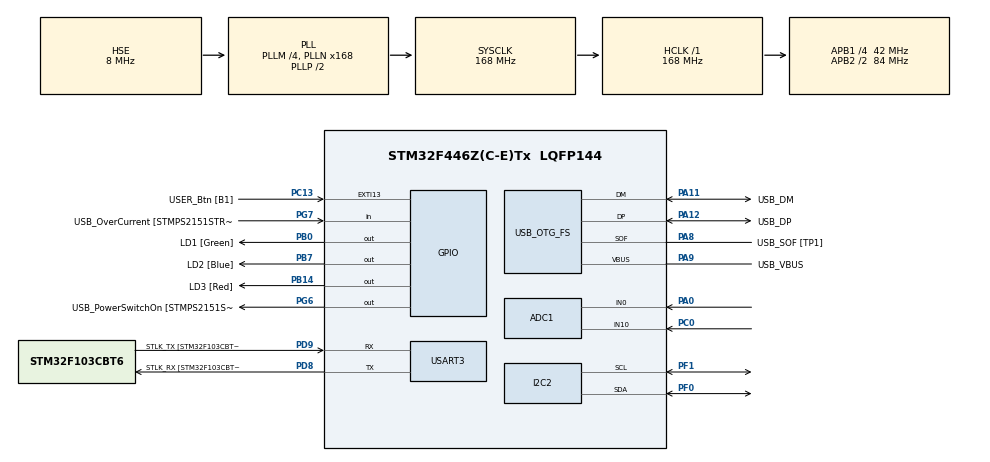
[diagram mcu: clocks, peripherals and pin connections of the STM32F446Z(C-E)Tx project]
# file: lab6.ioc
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ADC1.Channel-0\#ChannelRegularConversion=ADC_CHANNEL_10
ADC1.NbrOfConversionFlag=1
ADC1.Rank-0\#ChannelRegularConversion=1
ADC1.SamplingTime-0\#ChannelRegularConversion=ADC_SAMPLETIME_3CYCLES
ADC1.master=1
I2C2.I2C_Mode=I2C_Fast
Mcu.Family=STM32F4
Mcu.Name=STM32F446Z(C-E)Tx
Mcu.Package=LQFP144
NVIC.ADC_IRQn=true\:0\:0\:false\:false\:true\:true\:true\:true
NVIC.PriorityGroup=NVIC_PRIORITYGROUP_4
PA0-WKUP.Signal=ADCx_IN0
PA10.GPIO_Label=USB_ID
PA10.Signal=USB_OTG_FS_ID
PA11.GPIO_Label=USB_DM
PA11.Mode=Device_Only
PA11.Signal=USB_OTG_FS_DM
PA12.GPIO_Label=USB_DP
PA12.Mode=Device_Only
PA12.Signal=USB_OTG_FS_DP
PA13.GPIO_Label=TMS
PA13.Mode=Serial_Wire
PA13.Signal=SYS_JTMS-SWDIO
PA14.GPIO_Label=TCK
PA14.Mode=Serial_Wire
PA14.Signal=SYS_JTCK-SWCLK
PA8.GPIO_Label=USB_SOF [TP1]
PA8.Mode=Activate_SOF_FS
PA8.Signal=USB_OTG_FS_SOF
PA9.GPIO_Label=USB_VBUS
PA9.Mode=Activate_VBUS
PA9.Signal=USB_OTG_FS_VBUS
PB0.GPIO_Label=LD1 [Green]
PB0.Signal=GPIO_Output
PB14.GPIO_Label=LD3 [Red]
PB14.Signal=GPIO_Output
PB7.GPIO_Label=LD2 [Blue]
PB7.Signal=GPIO_Output
PC0.Signal=ADCx_IN10
PC13.GPIO_Label=USER_Btn [B1]
PC13.Signal=GPXTI13
PC14-OSC32_IN.Mode=LSE-External-Oscillator
PC14-OSC32_IN.Signal=RCC_OSC32_IN
PC15-OSC32_OUT.Mode=LSE-External-Oscillator
PC15-OSC32_OUT.Signal=RCC_OSC32_OUT
PD8.GPIO_Label=STLK_RX [STM32F103CBT6_PA3]
PD8.Mode=Asynchronous
PD8.Signal=USART3_TX
PD9.GPIO_Label=STLK_TX [STM32F103CBT6_PA2]
PD9.Mode=Asynchronous
PD9.Signal=USART3_RX
PF0.Mode=I2C
PF0.Signal=I2C2_SDA
PF1.Mode=I2C
PF1.Signal=I2C2_SCL
PG6.GPIO_Label=USB_PowerSwitchOn [STMPS2151STR_EN]
PG6.Signal=GPIO_Output
PG7.GPIO_Label=USB_OverCurrent [STMPS2151STR_FAULT]
PG7.Signal=GPIO_Input
PH0-OSC_IN.GPIO_Label=MCO [STM32F103CBT6_PA8]
PH0-OSC_IN.Mode=HSE-External-Clock-Source
PH0-OSC_IN.Signal=RCC_OSC_IN
PH1-OSC_OUT.Mode=HSE-External-Clock-Source
PH1-OSC_OUT.Signal=RCC_OSC_OUT
ProjectManager.HeapSize=0x200
ProjectManager.StackSize=0x400
ProjectManager.TargetToolchain=STM32CubeIDE
RCC.48MHZClocksFreq_Value=24000000
RCC.AHBFreq_Value=168000000
RCC.APB1CLKDivider=RCC_HCLK_DIV4
RCC.APB1Freq_Value=42000000
RCC.APB1TimFreq_Value=84000000
RCC.APB2CLKDivider=RCC_HCLK_DIV2
RCC.APB2Freq_Value=84000000
RCC.APB2TimFreq_Value=168000000
RCC.CortexFreq_Value=168000000
RCC.HCLKFreq_Value=168000000
RCC.HSE_VALUE=8000000
RCC.HSI_VALUE=16000000
RCC.PLLM=4
RCC.PLLMUL=RCC_PLL_MUL9
RCC.PLLN=168
RCC.PLLQ=7
RCC.PRESCALERUSB=RCC_USBCLKSOURCE_PLL_DIV1_5
RCC.SYSCLKFreq_VALUE=168000000
RCC.SYSCLKSource=RCC_SYSCLKSOURCE_PLLCLK
RCC.SYSCLKSourceVirtual=RCC_SYSCLKSOURCE_PLLCLK
RCC.USBFreq_Value=48000000
RCC.VCOOutputFreq_Value=336000000
SH.ADCx_IN0.0=ADC1_IN0,IN0
SH.ADCx_IN10.0=ADC1_IN10,IN10
USART3.VirtualMode=VM_ASYNC
USB_OTG_FS.VirtualMode=Device_Only
board=NUCLEO-F446ZE

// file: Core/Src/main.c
/* USER CODE BEGIN Header */
/**
  ******************************************************************************
  * @file           : main.c
  * @brief          : Main program body
  ******************************************************************************
  * @attention
  *
  * Copyright (c) 2026 STMicroelectronics.
  * All rights reserved.
  *
  * This software is licensed under terms that can be found in the LICENSE file
  * in the root directory of this software component.
  * If no LICENSE file comes with this software, it is provided AS-IS.
  *
  ******************************************************************************
  */
/* USER CODE END Header */
#include "main.h"

ADC_HandleTypeDef hadc1;

I2C_HandleTypeDef hi2c2;

UART_HandleTypeDef huart3;

PCD_HandleTypeDef hpcd_USB_OTG_FS;

void SystemClock_Config(void);
static void MX_GPIO_Init(void);
static void MX_ADC1_Init(void);
static void MX_USART3_UART_Init(void);
static void MX_USB_OTG_FS_PCD_Init(void);
static void MX_I2C2_Init(void);

int main(void)
{

  /* MCU Configuration--------------------------------------------------------*/

  /* Reset of all peripherals, Initializes the Flash interface and the Systick. */
  HAL_Init();

  /* Configure the system clock */
  SystemClock_Config();

  /* Initialize all configured peripherals */
  MX_GPIO_Init();
  MX_ADC1_Init();
  MX_USART3_UART_Init();
  MX_USB_OTG_FS_PCD_Init();
  MX_I2C2_Init();
  /* USER CODE BEGIN 2 */
  uint32_t adc_raw_value = 0;
  float voltage = 0.0f;

  // OLED Inicializálása (ugyanúgy, mint az előző laborban)
  OLED_Init();
  OLED_SetDisplayOn(1);
  OLED_Fill(Black);
  OLED_UpdateScreen();
  /* USER CODE END 2 */

  /* Infinite loop */
  /* USER CODE BEGIN WHILE */
  while (1)
  {
      // 1. Mérés elindítása
      HAL_ADC_Start(&hadc1);

      // 2. Várakozás a konverzió befejezésére (max 10 ms timeout)
      if (HAL_ADC_PollForConversion(&hadc1, 10) == HAL_OK) {

          // 3. Nyers 12 bites érték kiolvasása (0 - 4095)
          adc_raw_value = HAL_ADC_GetValue(&hadc1);

          // 4. Feszültség számítása
          voltage = (adc_raw_value / 4095.0f) * 3.3f;
      }

      // Feszültség szétszedése egész és tört részre (a lebegőpontos printf elkerülése miatt)
      int v_egesz = (int)voltage;
      int v_tort = (int)((voltage - v_egesz) * 100);

      // --- OLED KIÍRATÁS ---
      char buffer[32];

      OLED_Fill(Black); // Képernyő törlése a háttérszínnel

      // Nyers ADC kiírása
      sprintf(buffer, "ADC: %lu", adc_raw_value);
      OLED_SetCursor(2, 10);
      OLED_WriteString(buffer, Font_11x18, White);

      // Feszültség kiírása
      sprintf(buffer, "U: %d.%02d V", v_egesz, v_tort);
      OLED_SetCursor(2, 35);
      OLED_WriteString(buffer, Font_11x18, White);

      OLED_UpdateScreen(); // Tartalom kiküldése a kijelzőre

      // ADC leállítása a következő ciklusig
      HAL_ADC_Stop(&hadc1);

      HAL_Delay(100);

    /* USER CODE END WHILE */

  }
}

void SystemClock_Config(void)
{
  RCC_OscInitTypeDef RCC_OscInitStruct = {0};
  RCC_ClkInitTypeDef RCC_ClkInitStruct = {0};

  /** Configure the main internal regulator output voltage
  */
  __HAL_RCC_PWR_CLK_ENABLE();
  __HAL_PWR_VOLTAGESCALING_CONFIG(PWR_REGULATOR_VOLTAGE_SCALE1);

  /** Initializes the RCC Oscillators according to the specified parameters
  * in the RCC_OscInitTypeDef structure.
  */
  RCC_OscInitStruct.OscillatorType = RCC_OSCILLATORTYPE_HSE;
  RCC_OscInitStruct.HSEState = RCC_HSE_BYPASS;
  RCC_OscInitStruct.PLL.PLLState = RCC_PLL_ON;
  RCC_OscInitStruct.PLL.PLLSource = RCC_PLLSOURCE_HSE;
  RCC_OscInitStruct.PLL.PLLM = 4;
  RCC_OscInitStruct.PLL.PLLN = 168;
  RCC_OscInitStruct.PLL.PLLP = RCC_PLLP_DIV2;
  RCC_OscInitStruct.PLL.PLLQ = 7;
  RCC_OscInitStruct.PLL.PLLR = 2;
  if (HAL_RCC_OscConfig(&RCC_OscInitStruct) != HAL_OK)
  {
    Error_Handler();
  }

  /** Initializes the CPU, AHB and APB buses clocks
  */
  RCC_ClkInitStruct.ClockType = RCC_CLOCKTYPE_HCLK|RCC_CLOCKTYPE_SYSCLK
                              |RCC_CLOCKTYPE_PCLK1|RCC_CLOCKTYPE_PCLK2;
  RCC_ClkInitStruct.SYSCLKSource = RCC_SYSCLKSOURCE_PLLCLK;
  RCC_ClkInitStruct.AHBCLKDivider = RCC_SYSCLK_DIV1;
  RCC_ClkInitStruct.APB1CLKDivider = RCC_HCLK_DIV4;
  RCC_ClkInitStruct.APB2CLKDivider = RCC_HCLK_DIV2;

  if (HAL_RCC_ClockConfig(&RCC_ClkInitStruct, FLASH_LATENCY_5) != HAL_OK)
  {
    Error_Handler();
  }
}

static void MX_ADC1_Init(void)
{

  ADC_ChannelConfTypeDef sConfig = {0};

  /** Configure the global features of the ADC (Clock, Resolution, Data Alignment and number of conversion)
  */
  hadc1.Instance = ADC1;
  hadc1.Init.ClockPrescaler = ADC_CLOCK_SYNC_PCLK_DIV4;
  hadc1.Init.Resolution = ADC_RESOLUTION_12B;
  hadc1.Init.ScanConvMode = DISABLE;
  hadc1.Init.ContinuousConvMode = DISABLE;
  hadc1.Init.DiscontinuousConvMode = DISABLE;
  hadc1.Init.ExternalTrigConvEdge = ADC_EXTERNALTRIGCONVEDGE_NONE;
  hadc1.Init.ExternalTrigConv = ADC_SOFTWARE_START;
  hadc1.Init.DataAlign = ADC_DATAALIGN_RIGHT;
  hadc1.Init.NbrOfConversion = 1;
  hadc1.Init.DMAContinuousRequests = DISABLE;
  hadc1.Init.EOCSelection = ADC_EOC_SINGLE_CONV;
  if (HAL_ADC_Init(&hadc1) != HAL_OK)
  {
    Error_Handler();
  }

  /** Configure for the selected ADC regular channel its corresponding rank in the sequencer and its sample time.
  */
  sConfig.Channel = ADC_CHANNEL_10;
  sConfig.Rank = 1;
  sConfig.SamplingTime = ADC_SAMPLETIME_3CYCLES;
  if (HAL_ADC_ConfigChannel(&hadc1, &sConfig) != HAL_OK)
  {
    Error_Handler();
  }

}

static void MX_I2C2_Init(void)
{

  hi2c2.Instance = I2C2;
  hi2c2.Init.ClockSpeed = 400000;
  hi2c2.Init.DutyCycle = I2C_DUTYCYCLE_2;
  hi2c2.Init.OwnAddress1 = 0;
  hi2c2.Init.AddressingMode = I2C_ADDRESSINGMODE_7BIT;
  hi2c2.Init.DualAddressMode = I2C_DUALADDRESS_DISABLE;
  hi2c2.Init.OwnAddress2 = 0;
  hi2c2.Init.GeneralCallMode = I2C_GENERALCALL_DISABLE;
  hi2c2.Init.NoStretchMode = I2C_NOSTRETCH_DISABLE;
  if (HAL_I2C_Init(&hi2c2) != HAL_OK)
  {
    Error_Handler();
  }

}

static void MX_USART3_UART_Init(void)
{

  huart3.Instance = USART3;
  huart3.Init.BaudRate = 115200;
  huart3.Init.WordLength = UART_WORDLENGTH_8B;
  huart3.Init.StopBits = UART_STOPBITS_1;
  huart3.Init.Parity = UART_PARITY_NONE;
  huart3.Init.Mode = UART_MODE_TX_RX;
  huart3.Init.HwFlowCtl = UART_HWCONTROL_NONE;
  huart3.Init.OverSampling = UART_OVERSAMPLING_16;
  if (HAL_UART_Init(&huart3) != HAL_OK)
  {
    Error_Handler();
  }

}

static void MX_USB_OTG_FS_PCD_Init(void)
{

  hpcd_USB_OTG_FS.Instance = USB_OTG_FS;
  hpcd_USB_OTG_FS.Init.dev_endpoints = 6;
  hpcd_USB_OTG_FS.Init.speed = PCD_SPEED_FULL;
  hpcd_USB_OTG_FS.Init.dma_enable = DISABLE;
  hpcd_USB_OTG_FS.Init.phy_itface = PCD_PHY_EMBEDDED;
  hpcd_USB_OTG_FS.Init.Sof_enable = ENABLE;
  hpcd_USB_OTG_FS.Init.low_power_enable = DISABLE;
  hpcd_USB_OTG_FS.Init.lpm_enable = DISABLE;
  hpcd_USB_OTG_FS.Init.vbus_sensing_enable = ENABLE;
  hpcd_USB_OTG_FS.Init.use_dedicated_ep1 = DISABLE;
  if (HAL_PCD_Init(&hpcd_USB_OTG_FS) != HAL_OK)
  {
    Error_Handler();
  }

}

static void MX_GPIO_Init(void)
{
  GPIO_InitTypeDef GPIO_InitStruct = {0};

  /* GPIO Ports Clock Enable */
  __HAL_RCC_GPIOC_CLK_ENABLE();
  __HAL_RCC_GPIOF_CLK_ENABLE();
  __HAL_RCC_GPIOH_CLK_ENABLE();
  __HAL_RCC_GPIOA_CLK_ENABLE();
  __HAL_RCC_GPIOB_CLK_ENABLE();
  __HAL_RCC_GPIOD_CLK_ENABLE();
  __HAL_RCC_GPIOG_CLK_ENABLE();

  /*Configure GPIO pin Output Level */
  HAL_GPIO_WritePin(GPIOB, LD1_Pin|LD3_Pin|LD2_Pin, GPIO_PIN_RESET);

  /*Configure GPIO pin Output Level */
  HAL_GPIO_WritePin(USB_PowerSwitchOn_GPIO_Port, USB_PowerSwitchOn_Pin, GPIO_PIN_RESET);

  /*Configure GPIO pin : USER_Btn_Pin */
  GPIO_InitStruct.Pin = USER_Btn_Pin;
  GPIO_InitStruct.Mode = GPIO_MODE_IT_RISING;
  GPIO_InitStruct.Pull = GPIO_NOPULL;
  HAL_GPIO_Init(USER_Btn_GPIO_Port, &GPIO_InitStruct);

  /*Configure GPIO pins : LD1_Pin LD3_Pin LD2_Pin */
  GPIO_InitStruct.Pin = LD1_Pin|LD3_Pin|LD2_Pin;
  GPIO_InitStruct.Mode = GPIO_MODE_OUTPUT_PP;
  GPIO_InitStruct.Pull = GPIO_NOPULL;
  GPIO_InitStruct.Speed = GPIO_SPEED_FREQ_LOW;
  HAL_GPIO_Init(GPIOB, &GPIO_InitStruct);

  /*Configure GPIO pin : USB_PowerSwitchOn_Pin */
  GPIO_InitStruct.Pin = USB_PowerSwitchOn_Pin;
  GPIO_InitStruct.Mode = GPIO_MODE_OUTPUT_PP;
  GPIO_InitStruct.Pull = GPIO_NOPULL;
  GPIO_InitStruct.Speed = GPIO_SPEED_FREQ_LOW;
  HAL_GPIO_Init(USB_PowerSwitchOn_GPIO_Port, &GPIO_InitStruct);

  /*Configure GPIO pin : USB_OverCurrent_Pin */
  GPIO_InitStruct.Pin = USB_OverCurrent_Pin;
  GPIO_InitStruct.Mode = GPIO_MODE_INPUT;
  GPIO_InitStruct.Pull = GPIO_NOPULL;
  HAL_GPIO_Init(USB_OverCurrent_GPIO_Port, &GPIO_InitStruct);

}

void Error_Handler(void)
{
  __disable_irq();
  while (1)
  {
  }
}
